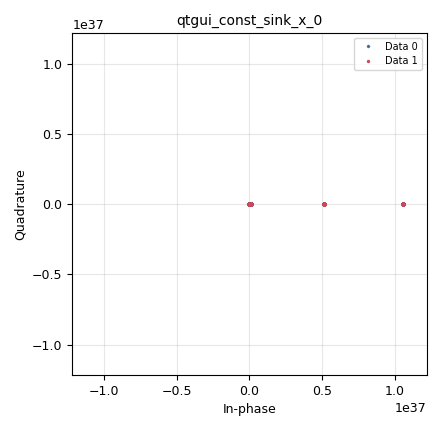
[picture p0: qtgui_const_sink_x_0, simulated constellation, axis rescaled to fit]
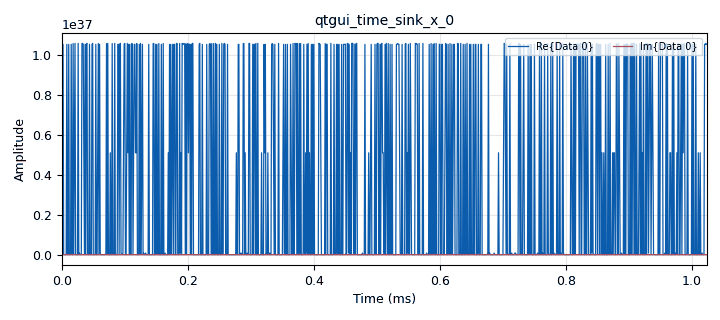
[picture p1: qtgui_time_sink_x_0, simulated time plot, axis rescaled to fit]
options:
  parameters:
    author: Muhammed
    generate_options: qt_gui
    id: bpsk_qpsk_16QAM
    output_language: python
  states: {}

blocks:
- name: QAM16
  id: variable
  parameters:
    value: '[-1-1j, +1-1j, 1+1j,-1+1j,1+3j, 3+1j, 3+3j, -1+3j, -3+1j, -3+3j, 3-1j, 1-3j, 3-3j, -3-1j, -1-3j, -3-3j]'
  states: {}
- name: bpsk
  id: variable
  parameters:
    value: '[-1+0j,1+0j]'
  states: {}
- name: cfo
  id: variable_qtgui_range
  parameters:
    label: Carrier Frequency Offset (Hz)
    start: '0'
    step: '10'
    stop: 100e3
    value: '0.0'
  states: {}
- name: constellation
  id: variable_qtgui_chooser
  parameters:
    label0: bpsk
    label1: qpsk
    label2: QAM16
    num_opts: '3'
    option0: bpsk
    option1: qpsk
    option2: QAM16
    orient: Qt.QHBoxLayout
    type: raw
    value: bpsk
    widget: radio_buttons
  states: {}
- name: mod_order
  id: variable
  parameters:
    comment: |-
      The number of bits that each 
      constellation point carries
    value: '4'
  states: {}
- name: noise
  id: variable_qtgui_range
  parameters:
    label: Noise Amplitude
    start: '0'
    step: '0.01'
    stop: '1'
    value: '0.0'
  states: {}
- name: qpsk
  id: variable
  parameters:
    value: '[-1-1j, +1-1j, 1+1j,-1+1j]'
  states: {}
- name: samp_rate
  id: variable
  parameters:
    value: 1e6
  states: {}
- name: analog_noise_source_x_0
  id: analog_noise_source_x
  parameters:
    amp: noise
    noise_type: analog.GR_GAUSSIAN
    seed: '0'
    type: complex
  states: {}
- name: analog_random_source_x_0
  id: analog_random_source_x
  parameters:
    max: '255'
    min: '0'
    num_samps: '1000'
    repeat: 'True'
    type: byte
  states: {}
- name: analog_sig_source_x_0
  id: analog_sig_source_x
  parameters:
    amp: '1'
    freq: cfo
    offset: '0'
    phase: '0'
    samp_rate: samp_rate
    type: complex
    waveform: analog.GR_COS_WAVE
  states: {}
- name: blocks_add_xx_0
  id: blocks_add_xx
  parameters:
    type: complex
  states: {}
- name: blocks_multiply_xx_0
  id: blocks_multiply_xx
  parameters:
    type: complex
  states: {}
- name: blocks_packed_to_unpacked_xx_0
  id: blocks_packed_to_unpacked_xx
  parameters:
    bits_per_chunk: mod_order
    endianness: gr.GR_MSB_FIRST
    type: byte
  states: {}
- name: blocks_throttle_0
  id: blocks_throttle
  parameters:
    samples_per_second: samp_rate
    type: complex
  states: {}
- name: digital_chunks_to_symbols_xx_0
  id: digital_chunks_to_symbols_xx
  parameters:
    dimension: '1'
    in_type: byte
    out_type: complex
    symbol_table: constellation
  states: {}
- name: import_0
  id: import
  parameters:
    imports: import math
  states: {}
- name: qtgui_const_sink_x_0
  id: qtgui_const_sink_x
  parameters:
    grid: 'True'
    nconnections: '2'
    size: '1024'
    type: complex
  states: {}
- name: qtgui_time_sink_x_0
  id: qtgui_time_sink_x
  parameters:
    size: '1024'
    srate: samp_rate
    type: complex
  states: {}

connections:
- [analog_noise_source_x_0, '0', blocks_add_xx_0, '1']
- [analog_random_source_x_0, '0', blocks_packed_to_unpacked_xx_0, '0']
- [analog_sig_source_x_0, '0', blocks_multiply_xx_0, '1']
- [blocks_add_xx_0, '0', blocks_multiply_xx_0, '0']
- [blocks_multiply_xx_0, '0', blocks_throttle_0, '0']
- [blocks_packed_to_unpacked_xx_0, '0', digital_chunks_to_symbols_xx_0, '0']
- [blocks_throttle_0, '0', qtgui_const_sink_x_0, '1']
- [blocks_throttle_0, '0', qtgui_time_sink_x_0, '0']
- [digital_chunks_to_symbols_xx_0, '0', blocks_add_xx_0, '0']
- [digital_chunks_to_symbols_xx_0, '0', qtgui_const_sink_x_0, '0']

metadata:
  file_format: 1
  grc_version: 3.10.7.0
